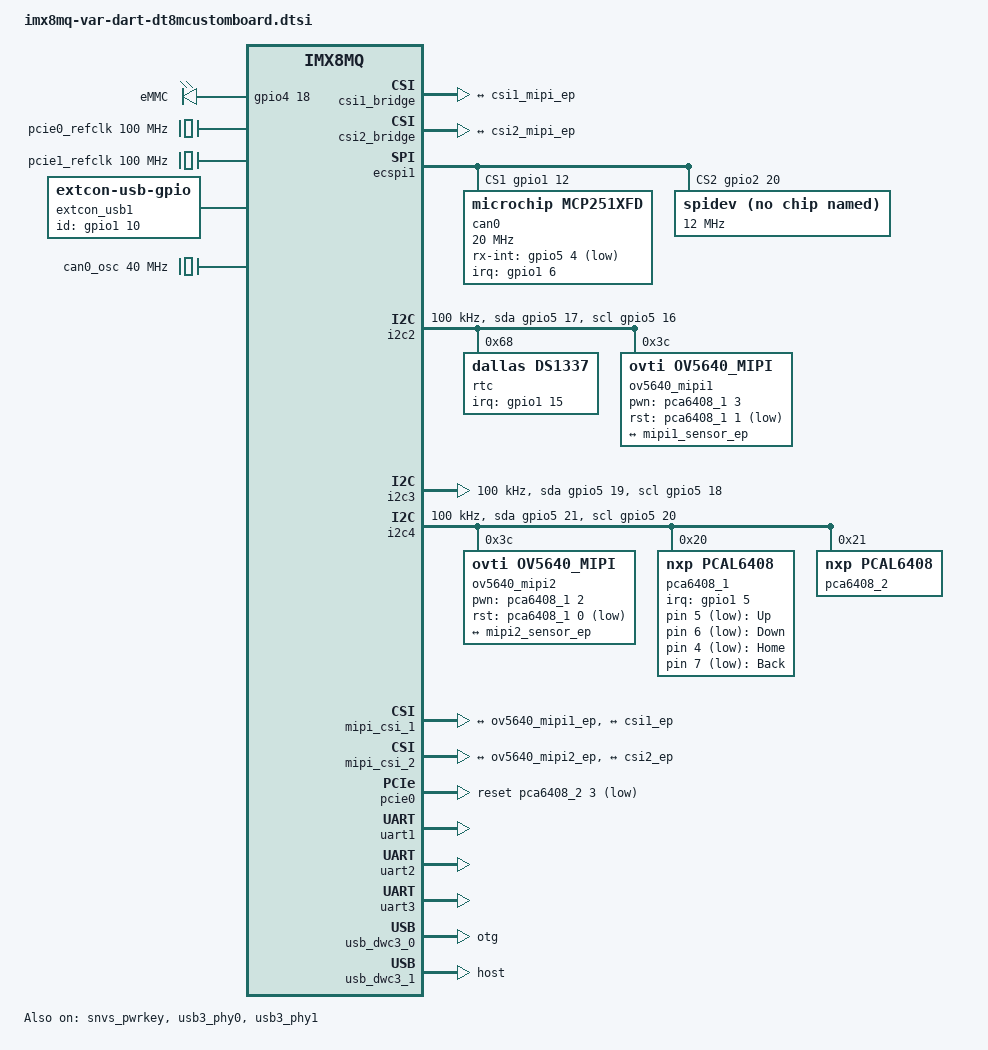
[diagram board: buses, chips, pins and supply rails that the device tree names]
// SPDX-License-Identifier: (GPL-2.0 OR MIT)
/*
 * Copyright 2017 NXP
 * Copyright (C) 2017-2018 Pengutronix, Lucas Stach <kernel@pengutronix.de>
 * Copyright 2018-2021 Variscite Ltd.
 */

#include "imx8mq-var-dart.dtsi"

/ {
	chosen {
		bootargs = "console=ttymxc0,115200 earlycon=ec_imx6q,0x30860000,115200";
		stdout-path = &uart1;
	};

	backlight: backlight {
		compatible = "pwm-backlight";
		pwms = <&pwm1 0 1000000 0>;
		brightness-levels = < 0  1  2  3  4  5  6  7  8  9
				     10 11 12 13 14 15 16 17 18 19
				     20 21 22 23 24 25 26 27 28 29
				     30 31 32 33 34 35 36 37 38 39
				     40 41 42 43 44 45 46 47 48 49
				     50 51 52 53 54 55 56 57 58 59
				     60 61 62 63 64 65 66 67 68 69
				     70 71 72 73 74 75 76 77 78 79
				     80 81 82 83 84 85 86 87 88 89
				     90 91 92 93 94 95 96 97 98 99
				    100>;
		default-brightness-level = <80>;
		status = "disabled";
	};

	gpio-keys {
		compatible = "gpio-keys";

		up {
			label = "Up";
			gpios = <&pca6408_1 5 GPIO_ACTIVE_LOW>;
			linux,code = <KEY_UP>;
			wakeup-source;
		};

		down {
			label = "Down";
			gpios = <&pca6408_1 6 GPIO_ACTIVE_LOW>;
			linux,code = <KEY_DOWN>;
			wakeup-source;
		};

		home {
			label = "Home";
			gpios = <&pca6408_1 4 GPIO_ACTIVE_LOW>;
			linux,code = <KEY_HOME>;
			wakeup-source;
		};

		back {
			label = "Back";
			gpios = <&pca6408_1 7 GPIO_ACTIVE_LOW>;
			linux,code = <KEY_BACK>;
			wakeup-source;
		};
	};

	leds {
		compatible = "gpio-leds";
		pinctrl-names = "default";
		pinctrl-0 = <&pinctrl_leds>;

		emmc {
			label = "eMMC";
			gpios = <&gpio4 18 GPIO_ACTIVE_HIGH>;
			linux,default-trigger = "mmc0";
		};
	};

	pcie0_refclk: pcie0-refclk {
		compatible = "fixed-clock";
		#clock-cells = <0>;
		clock-frequency = <100000000>;
	};

	pcie1_refclk: pcie1-refclk {
		compatible = "fixed-clock";
		#clock-cells = <0>;
		clock-frequency = <100000000>;
	};

	extcon_usb1: extcon_usb1 {
		compatible = "linux,extcon-usb-gpio";
		pinctrl-names = "default";
		pinctrl-0 = <&pinctrl_extcon>;
		id-gpio = <&gpio1 10 GPIO_ACTIVE_HIGH>;
		status = "okay";
	};

	can0_osc: can0_osc {
		compatible = "fixed-clock";
		#clock-cells = <0>;
		clock-frequency = <40000000>;
	};
};

&csi1_bridge {
	fsl,mipi-mode;
	fsl,two-8bit-sensor-mode;
	status = "okay";

	port {
		csi1_ep: endpoint {
			remote-endpoint = <&csi1_mipi_ep>;
		};
	};
};

&csi2_bridge {
	fsl,mipi-mode;
	fsl,two-8bit-sensor-mode;
	status = "okay";

	port {
		csi2_ep: endpoint {
			remote-endpoint = <&csi2_mipi_ep>;
		};
	};
};

&ecspi1 {
	pinctrl-names = "default";
	pinctrl-0 = <&pinctrl_ecspi1>;
	cs-gpios = <&gpio5  9 GPIO_ACTIVE_HIGH>,
		   <&gpio1 12 GPIO_ACTIVE_HIGH>,
		   <&gpio2 20 GPIO_ACTIVE_HIGH>;
	status = "okay";

	/* Resistive touch controller */
	ads7846@0 {
		reg = <0>;
		compatible = "ti,ads7846";
		pinctrl-names = "default";
		pinctrl-0 = <&pinctrl_restouch>;
		interrupt-parent = <&gpio1>;
		interrupts = <3 IRQ_TYPE_EDGE_FALLING>;
		spi-max-frequency = <1500000>;
		pendown-gpio = <&gpio1 3 GPIO_ACTIVE_LOW>;
		ti,x-min = /bits/ 16 <125>;
		ti,x-max = /bits/ 16 <4008>;
		ti,y-min = /bits/ 16 <282>;
		ti,y-max = /bits/ 16 <3864>;
		ti,x-plate-ohms = /bits/ 16 <180>;
		ti,pressure-max = /bits/ 16 <255>;
		ti,debounce-max = /bits/ 16 <10>;
		ti,debounce-tol = /bits/ 16 <3>;
		ti,debounce-rep = /bits/ 16 <1>;
		ti,settle-delay-usec = /bits/ 16 <150>;
		ti,keep-vref-on;
		wakeup-source;
		status = "disabled";
	};

	/* CAN controller */
	can0: can@1 {
		compatible = "microchip,mcp251xfd";
		reg = <1>;
		pinctrl-names = "default";
		pinctrl-0 = <&pinctrl_can>;
		clocks = <&can0_osc>;
		interrupt-parent = <&gpio1>;
		interrupts = <6 IRQ_TYPE_LEVEL_LOW>;
		microchip,rx-int-gpios = <&gpio5 4 GPIO_ACTIVE_LOW>;
		spi-max-frequency = <20000000>;
		status = "okay";
	};

	/* Test SPI device */
	spidev@2 {
		reg = <2>;
		compatible = "var,spidev";
		spi-max-frequency = <12000000>;
		status = "okay";
	};
};

&iomuxc {
	pinctrl_can: cangrp {
		fsl,pins = <
			MX8MQ_IOMUXC_GPIO1_IO06_GPIO1_IO6		0xc0
			MX8MQ_IOMUXC_SPDIF_RX_GPIO5_IO4			0x16
		>;
	};

	pinctrl_captouch: captouchgrp {
		fsl,pins = <
			MX8MQ_IOMUXC_GPIO1_IO14_GPIO1_IO14		0x80
		>;
	};

	pinctrl_ecspi1: ecspi1grp {
		fsl,pins = <
			MX8MQ_IOMUXC_ECSPI1_SCLK_ECSPI1_SCLK		0x13
			MX8MQ_IOMUXC_ECSPI1_MOSI_ECSPI1_MOSI		0x13
			MX8MQ_IOMUXC_ECSPI1_MISO_ECSPI1_MISO		0x13
			MX8MQ_IOMUXC_ECSPI1_SS0_GPIO5_IO9		0x13
			MX8MQ_IOMUXC_GPIO1_IO12_GPIO1_IO12		0x13
			MX8MQ_IOMUXC_SD2_WP_GPIO2_IO20			0x13
		>;
	};

	pinctrl_i2c2: i2c2grp {
		fsl,pins = <
			MX8MQ_IOMUXC_I2C2_SCL_I2C2_SCL			0x40000067
			MX8MQ_IOMUXC_I2C2_SDA_I2C2_SDA			0x40000067
		>;
	};

	pinctrl_i2c3: i2c3grp {
		fsl,pins = <
			MX8MQ_IOMUXC_I2C3_SCL_I2C3_SCL			0x4000007f
			MX8MQ_IOMUXC_I2C3_SDA_I2C3_SDA			0x4000007f
		>;
	};

	pinctrl_i2c4: i2c4grp {
		fsl,pins = <
			MX8MQ_IOMUXC_I2C4_SCL_I2C4_SCL			0x4000007f
			MX8MQ_IOMUXC_I2C4_SDA_I2C4_SDA			0x4000007f
		>;
	};

	pinctrl_i2c2_gpio: i2c2grp-gpio {
		fsl,pins = <
			MX8MQ_IOMUXC_I2C2_SCL_GPIO5_IO16        	0x7f
			MX8MQ_IOMUXC_I2C2_SDA_GPIO5_IO17        	0x7f
		>;
	};

	pinctrl_i2c3_gpio: i2c3grp-gpio {
		fsl,pins = <
			MX8MQ_IOMUXC_I2C3_SCL_GPIO5_IO18        	0x7f
			MX8MQ_IOMUXC_I2C3_SDA_GPIO5_IO19        	0x7f
		>;
	};

	pinctrl_i2c4_gpio: i2c4grp-gpio {
		fsl,pins = <
			MX8MQ_IOMUXC_I2C4_SCL_GPIO5_IO20        	0x7f
			MX8MQ_IOMUXC_I2C4_SDA_GPIO5_IO21        	0x7f
		>;
	};

	pinctrl_leds: ledgrp {
		fsl,pins = <
			MX8MQ_IOMUXC_SAI1_TXD5_GPIO4_IO17		0xc6
		>;
	};

	pinctrl_pwm1: pwm1grp {
		fsl,pins = <
			MX8MQ_IOMUXC_GPIO1_IO01_PWM1_OUT 		0x06
		>;
	};

	pinctrl_restouch: restouchgrp {
		fsl,pins = <
			MX8MQ_IOMUXC_GPIO1_IO03_GPIO1_IO3		0x80
		>;
	};

	pinctrl_rtc: rtcgrp {
		fsl,pins = <
			MX8MQ_IOMUXC_GPIO1_IO15_GPIO1_IO15 		0xc1
		>;
	};

	pinctrl_extcon: extcongrp {
		fsl,pins = <
			MX8MQ_IOMUXC_GPIO1_IO10_GPIO1_IO10		0x16
		>;
	};

	pinctrl_uart1: uart1grp {
		fsl,pins = <
			MX8MQ_IOMUXC_UART1_RXD_UART1_DCE_RX		0x49
			MX8MQ_IOMUXC_UART1_TXD_UART1_DCE_TX		0x49
		>;
	};

	pinctrl_uart2: uart2grp {
		fsl,pins = <
			MX8MQ_IOMUXC_UART2_RXD_UART2_DCE_RX		0x49
			MX8MQ_IOMUXC_UART2_TXD_UART2_DCE_TX		0x49
		>;
	};

	pinctrl_uart3: uart3grp {
		fsl,pins = <
			MX8MQ_IOMUXC_UART3_RXD_UART3_DCE_RX		0x49
			MX8MQ_IOMUXC_UART3_TXD_UART3_DCE_TX		0x49
		>;
	};

	pinctrl_usdhc2: usdhc2grp {
		fsl,pins = <
			MX8MQ_IOMUXC_SD2_CLK_USDHC2_CLK			0x83
			MX8MQ_IOMUXC_SD2_CMD_USDHC2_CMD			0xc3
			MX8MQ_IOMUXC_SD2_DATA0_USDHC2_DATA0		0xc3
			MX8MQ_IOMUXC_SD2_DATA1_USDHC2_DATA1		0xc3
			MX8MQ_IOMUXC_SD2_DATA2_USDHC2_DATA2		0xc3
			MX8MQ_IOMUXC_SD2_DATA3_USDHC2_DATA3		0xc3
		>;
	};

	pinctrl_usdhc2_100mhz: usdhc2-100grp {
		fsl,pins = <
			MX8MQ_IOMUXC_SD2_CLK_USDHC2_CLK			0x85
			MX8MQ_IOMUXC_SD2_CMD_USDHC2_CMD			0xc5
			MX8MQ_IOMUXC_SD2_DATA0_USDHC2_DATA0		0xc5
			MX8MQ_IOMUXC_SD2_DATA1_USDHC2_DATA1		0xc5
			MX8MQ_IOMUXC_SD2_DATA2_USDHC2_DATA2		0xc5
			MX8MQ_IOMUXC_SD2_DATA3_USDHC2_DATA3		0xc5
		>;
	};

	pinctrl_usdhc2_200mhz: usdhc2-200grp {
		fsl,pins = <
			MX8MQ_IOMUXC_SD2_CLK_USDHC2_CLK			0x87
			MX8MQ_IOMUXC_SD2_CMD_USDHC2_CMD			0xc7
			MX8MQ_IOMUXC_SD2_DATA0_USDHC2_DATA0		0xc7
			MX8MQ_IOMUXC_SD2_DATA1_USDHC2_DATA1		0xc7
			MX8MQ_IOMUXC_SD2_DATA2_USDHC2_DATA2		0xc7
			MX8MQ_IOMUXC_SD2_DATA3_USDHC2_DATA3		0xc7
		>;
	};

	pinctrl_pca6408: pca6408grp {
		fsl,pins = <
			MX8MQ_IOMUXC_GPIO1_IO05_GPIO1_IO5		0xc6
		>;
	};
};

&i2c2 {
	clock-frequency = <100000>;
	pinctrl-names = "default", "gpio";
	pinctrl-0 = <&pinctrl_i2c2>;
	pinctrl-1 = <&pinctrl_i2c2_gpio>;
	scl-gpios = <&gpio5 16 GPIO_ACTIVE_HIGH>;
	sda-gpios = <&gpio5 17 GPIO_ACTIVE_HIGH>;
	status = "okay";

	/* Capacitive touch controller */
	ft5x06_ts: ft5x06_ts@38 {
		status = "disabled";
		compatible = "edt,edt-ft5x06";
		reg = <0x38>;
		reset-gpios = <&pca6408_2 4 GPIO_ACTIVE_LOW>;
		pinctrl-names = "default";
		pinctrl-0 = <&pinctrl_captouch>;
		interrupt-parent = <&gpio1>;
		interrupts = <14 IRQ_TYPE_EDGE_FALLING>;
		touchscreen-size-x = <800>;
		touchscreen-size-y = <480>;
		touchscreen-inverted-x;
		touchscreen-inverted-y;
		wakeup-source;
	};

	/* DS1337 RTC module */
	rtc@68 {
		status = "okay";
		compatible = "dallas,ds1337";
		reg = <0x68>;
		pinctrl-names = "default";
		pinctrl-0 = <&pinctrl_rtc>;
		interrupt-parent = <&gpio1>;
		interrupts = <15 IRQ_TYPE_EDGE_FALLING>;
		wakeup-source;
	};

	ov5640_mipi1: ov5640_mipi1@3c {
		status = "okay";
		compatible = "ovti,ov5640_mipi";
		reg = <0x3c>;
		clocks = <&clk IMX8MQ_CLK_CLKO2>;
		clock-names = "csi_mclk";
/* Disabled CLKO2, since DART-MX8M camera expansion board uses
 * its own oscillator. Enable CLK02 if your design requires it
 */
#if 0
		assigned-clocks = <&clk IMX8MQ_CLK_CLKO2>;
		assigned-clock-parents = <&clk IMX8MQ_SYS2_PLL_200M>;
		assigned-clock-rates = <24000000>;
#endif
		csi_id = <0>;
		pwn-gpios = <&pca6408_1 3 GPIO_ACTIVE_HIGH>;
		rst-gpios = <&pca6408_1 1 GPIO_ACTIVE_LOW>;
		mclk = <24000000>;
		mclk_source = <0>;
		port {
			ov5640_mipi1_ep: endpoint {
				remote-endpoint = <&mipi1_sensor_ep>;
			};
		};
	};
};

&i2c3 {
	clock-frequency = <100000>;
	pinctrl-names = "default", "gpio";
	pinctrl-0 = <&pinctrl_i2c3>;
	pinctrl-1 = <&pinctrl_i2c3_gpio>;
	scl-gpios = <&gpio5 18 GPIO_ACTIVE_HIGH>;
	sda-gpios = <&gpio5 19 GPIO_ACTIVE_HIGH>;
	status = "okay";
};

&i2c4 {
	clock-frequency = <100000>;
	pinctrl-names = "default", "gpio";
	pinctrl-0 = <&pinctrl_i2c4>;
	pinctrl-1 = <&pinctrl_i2c4_gpio>;
	scl-gpios = <&gpio5 20 GPIO_ACTIVE_HIGH>;
	sda-gpios = <&gpio5 21 GPIO_ACTIVE_HIGH>;
	status = "okay";

	ov5640_mipi2: ov5640_mipi2@3c {
		status = "okay";
		compatible = "ovti,ov5640_mipi";
		reg = <0x3c>;
		clocks = <&clk IMX8MQ_CLK_CLKO2>;
		clock-names = "csi_mclk";
/* Disabled CLKO2, since DART-MX8M camera expansion board uses
 * its own oscillator. Enable CLK02 if your design requires it
 */
#if 0
		assigned-clocks = <&clk IMX8MQ_CLK_CLKO2>;
		assigned-clock-parents = <&clk IMX8MQ_SYS2_PLL_200M>;
		assigned-clock-rates = <24000000>;
#endif
		csi_id = <1>;
		pwn-gpios = <&pca6408_1 2 GPIO_ACTIVE_HIGH>;
		rst-gpios = <&pca6408_1 0 GPIO_ACTIVE_LOW>;
		mclk = <24000000>;
		mclk_source = <0>;
		port {
			ov5640_mipi2_ep: endpoint {
				remote-endpoint = <&mipi2_sensor_ep>;
			};
		};
	};

	pca6408_1: gpio@20 {
		compatible = "nxp,pcal6408";
		standard-regs-fallback;
		reg = <0x20>;
		gpio-controller;
		#gpio-cells = <2>;
		pinctrl-names = "default";
		pinctrl-0 = <&pinctrl_pca6408>;
		interrupt-parent = <&gpio1>;
		interrupts = <5 IRQ_TYPE_LEVEL_LOW>;
	};

	pca6408_2: gpio@21 {
		compatible = "nxp,pcal6408";
		standard-regs-fallback;
		reg = <0x21>;
		gpio-controller;
		#gpio-cells = <2>;
	};
};

&mipi_csi_1 {
	#address-cells = <1>;
	#size-cells = <0>;
	status = "okay";
	port {
		mipi1_sensor_ep: endpoint@0 {
			remote-endpoint = <&ov5640_mipi1_ep>;
			data-lanes = <1 2>;
			bus-type = <4>;
		};

		csi1_mipi_ep: endpoint@1 {
			remote-endpoint = <&csi1_ep>;
		};
	};
};

&mipi_csi_2 {
	#address-cells = <1>;
	#size-cells = <0>;
	status = "okay";
	port {
		mipi2_sensor_ep: endpoint@0 {
			remote-endpoint = <&ov5640_mipi2_ep>;
			data-lanes = <1 2>;
			bus-type = <4>;
		};

		csi2_mipi_ep: endpoint@1 {
			remote-endpoint = <&csi2_ep>;
		};
	};
};

&pcie0 {
	reset-gpio = <&pca6408_2 3 GPIO_ACTIVE_LOW>;
	clocks = <&clk IMX8MQ_CLK_PCIE1_ROOT>,
		 <&clk IMX8MQ_CLK_PCIE1_AUX>,
		 <&clk IMX8MQ_CLK_PCIE1_PHY>,
		 <&pcie0_refclk>;
	clock-names = "pcie", "pcie_aux", "pcie_phy", "pcie_bus";
	vph-supply = <&vgen5_reg>;
	status = "okay";
};

&pcie1 {
	reset-gpio = <&pca6408_2 2 GPIO_ACTIVE_LOW>;
	clocks = <&clk IMX8MQ_CLK_PCIE2_ROOT>,
		 <&clk IMX8MQ_CLK_PCIE2_AUX>,
		 <&clk IMX8MQ_CLK_PCIE2_PHY>,
		 <&pcie1_refclk>;
	clock-names = "pcie", "pcie_aux", "pcie_phy", "pcie_bus";
	vph-supply = <&vgen5_reg>;
	status = "disabled";
};

&pwm1 {
	pinctrl-names = "default";
	pinctrl-0 = <&pinctrl_pwm1>;
	status = "disabled";
};

&snvs_rtc {
	status = "disabled";
};

&snvs_pwrkey {
	status = "okay";
};

/* Console */
&uart1 {
	pinctrl-names = "default";
	pinctrl-0 = <&pinctrl_uart1>;
	assigned-clocks = <&clk IMX8MQ_CLK_UART1>;
	assigned-clock-parents = <&clk IMX8MQ_CLK_25M>;
	status = "okay";
};

/* Header */
&uart2 {
	pinctrl-names = "default";
	pinctrl-0 = <&pinctrl_uart2>;
	assigned-clocks = <&clk IMX8MQ_CLK_UART2>;
	assigned-clock-parents = <&clk IMX8MQ_CLK_25M>;
	status = "okay";
};

/* Header */
&uart3 {
	pinctrl-names = "default";
	pinctrl-0 = <&pinctrl_uart3>;
	assigned-clocks = <&clk IMX8MQ_CLK_UART3>;
	assigned-clock-parents = <&clk IMX8MQ_CLK_25M>;
	status = "okay";
};

&usb3_phy0 {
	status = "okay";
};

&usb_dwc3_0 {
	dr_mode = "otg";
	hnp-disable;
	srp-disable;
	adp-disable;
	snps,dis-u1-entry-quirk;
	snps,dis-u2-entry-quirk;
	status = "okay";
	extcon = <&extcon_usb1>;
};

&usb3_phy1 {
	status = "okay";
};

&usb_dwc3_1 {
	dr_mode = "host";
	status = "okay";
};
